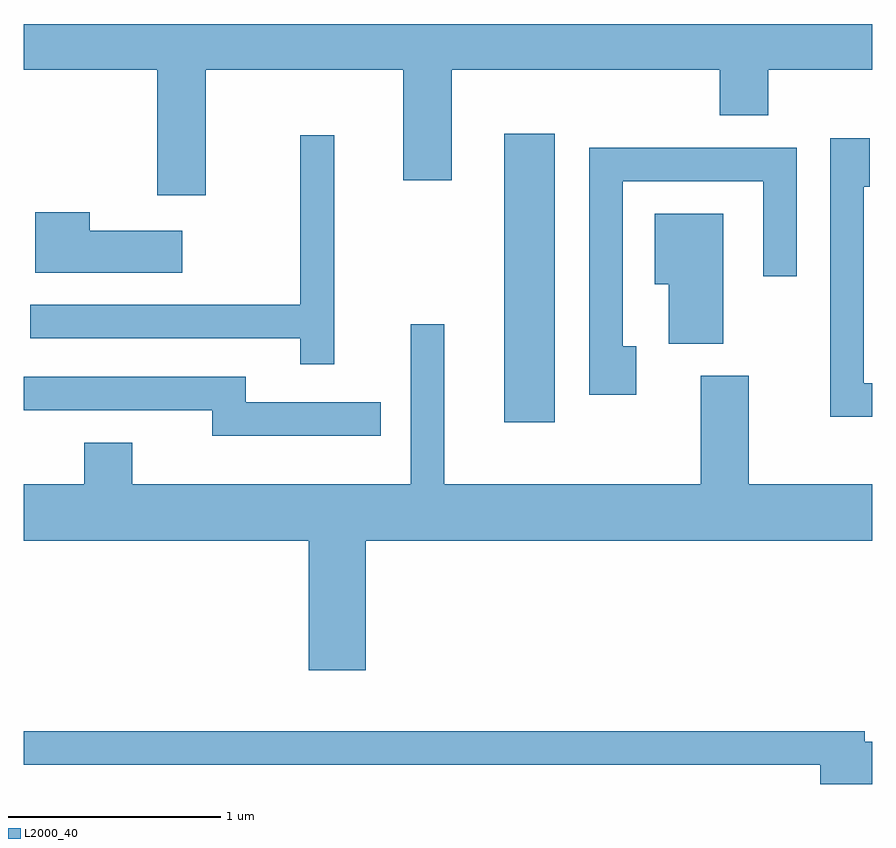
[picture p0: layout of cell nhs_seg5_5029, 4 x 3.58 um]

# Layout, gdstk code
import gdstk
lib = gdstk.Library(unit=1e-6, precision=1e-09)
def R(c, l, rs):  # rectangles x0, y0, x1, y1
    for r in rs: c.add(gdstk.rectangle(r[:2], r[2:], *l))
def P(c, l, *ps):  # polygons
    for p in ps: c.add(gdstk.Polygon(p, *l))
L2000_40 = (2000, 40)

nhs_seg5_5029 = lib.new_cell('nhs_seg5_5029')
R(nhs_seg5_5029, L2000_40, [(335.876,1506.196,336.114,1507.554)])
P(nhs_seg5_5029, L2000_40, [(334.469,1507.856),(335.401,1507.856),(335.401,1507.336),(335.629,1507.336),(335.629,1507.856),(336.891,1507.856),(336.891,1507.641),(337.119,1507.641),(337.119,1507.856),(337.611,1507.856),(337.611,1508.072),(333.611,1508.072),(333.611,1507.856),(334.241,1507.856),(334.241,1507.266),(334.469,1507.266)],
  [(335.074,1507.548),(334.916,1507.548),(334.916,1506.749),(333.643,1506.749),(333.643,1506.591),(334.916,1506.591),(334.916,1506.468),(335.074,1506.468)],
  [(337.611,1506.379),(337.569,1506.379),(337.569,1507.306),(337.599,1507.306),(337.599,1507.534),(337.411,1507.534),(337.411,1506.221),(337.611,1506.221)],
  [(336.499,1506.554),(336.434,1506.554),(336.434,1507.331),(337.096,1507.331),(337.096,1506.883),(337.254,1506.883),(337.254,1507.489),(336.276,1507.489),(336.276,1506.326),(336.499,1506.326)],
  [(334.359,1507.099),(333.924,1507.099),(333.924,1507.184),(333.666,1507.184),(333.666,1506.901),(334.359,1506.901)],
  [(336.909,1507.179),(336.586,1507.179),(336.586,1506.846),(336.651,1506.846),(336.651,1506.566),(336.909,1506.566)],
  [(335.224,1505.636),(337.611,1505.636),(337.611,1505.904),(337.029,1505.904),(337.029,1506.414),(336.801,1506.414),(336.801,1505.904),(335.594,1505.904),(335.594,1506.658),(335.436,1506.658),(335.436,1505.904),(334.124,1505.904),(334.124,1506.099),(333.896,1506.099),(333.896,1505.904),(333.611,1505.904),(333.611,1505.636),(334.956,1505.636),(334.956,1505.026),(335.224,1505.026)],
  [(335.293,1506.289),(334.659,1506.289),(334.659,1506.409),(333.611,1506.409),(333.611,1506.251),(334.501,1506.251),(334.501,1506.131),(335.293,1506.131)],
  [(337.611,1504.689),(337.574,1504.689),(337.574,1504.739),(333.611,1504.739),(333.611,1504.581),(337.366,1504.581),(337.366,1504.491),(337.611,1504.491)])

lib.write_gds('nhs_seg5_5029.gds')
